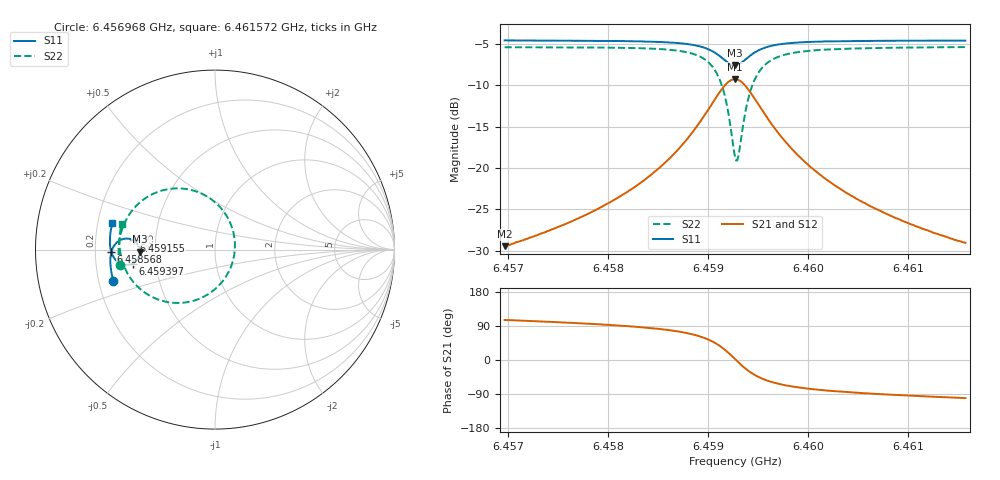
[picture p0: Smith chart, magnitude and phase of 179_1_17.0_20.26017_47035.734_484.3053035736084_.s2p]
#  HZ  S  RI  R  50.00
! Rohde & Schwarz Vector Network Analyzer
! Rohde-Schwarz,ZNB20-2Port,1311601062101988,3.16
! Created: UTC 3/20/2024, 11:00:04 PM
! freq[Hz]  re:S11  im:S11  re:S21  im:S21  re:S12  im:S12  re:S22  im:S22
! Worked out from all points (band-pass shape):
!   401 points, 6.456968 GHz to 6.461572 GHz, reference 50 ohm
!   highest |S21| = -9.24 dB at 6.45927 GHz (marker M1); lowest = -29.5 dB at 6.456968 GHz (marker M2)
!   |S21| within 3 dB of the highest: 6.45904 GHz to 6.4595 GHz (460.5 kHz wide, 0.00713 % of centre)
!   lowest |S11| = -7.6 dB at 6.45927 GHz (marker M3), VSWR 2.44, Z = 20.5 - j0.594 ohm
!   |S11| at or under -10 dB: nowhere
!   |S22| runs from -19.1 to -5.4 dB; largest |S21 - S12| = 0.014
!   S11 on the Smith chart (normalised r, x): 6.456968 GHz: 0.26, -0.14; 6.458568 GHz: 0.27, -0.01; 6.459155 GHz: 0.37, +0.05; 6.459397 GHz: 0.37, -0.07; 6.461572 GHz: 0.26, +0.12
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6.4569682e9  -0.5659 -0.1741  -0.00901 0.0324  -0.00732 0.0323  -0.5315 -0.0875
6.4577393e9  -0.5803 -0.1068  -0.00574 0.0504  -0.00323 0.0497  -0.5372 0.00244
6.4581652e9  -0.5833 -0.064  4.6e-05 0.0699  0.00326 0.0686  -0.5295 0.0699
6.4585105e9  -0.5796 -0.0227  0.0137 0.0987  0.0178 0.0961  -0.5045 0.1478
6.458568e9  -0.5778 -0.015  0.0181 0.1056  0.0222 0.1026  -0.4964 0.1643
6.4587752e9  -0.5649 0.0173  0.0454 0.1381  0.0496 0.1334  -0.4452 0.2372
6.4589248e9  -0.5422 0.0437  0.0906 0.1689  0.0939 0.1622  -0.362 0.3019
6.4590629e9  -0.4984 0.0613  0.1778 0.1857  0.1789 0.1783  -0.203 0.3411
6.459155e9  -0.4537 0.0511  0.2678 0.1546  0.2681 0.1489  -0.0365 0.2912
6.459224e9  -0.4246 0.019  0.3284 0.083  0.3307 0.0776  0.0789 0.1621
6.4592701e9  -0.4177 -0.0119  0.3448 0.015  0.3486 0.00822  0.1112 0.0357
6.4593046e9  -0.4216 -0.0356  0.3392 -0.0373  0.343 -0.0464  0.0998 -0.0634
6.4593506e9  -0.4372 -0.0618  0.3108 -0.0972  0.313 -0.109  0.0425 -0.1763
6.4593967e9  -0.4592 -0.078  0.2688 -0.1383  0.2682 -0.1514  -0.042 -0.251
6.4594427e9  -0.482 -0.085  0.2246 -0.1608  0.2209 -0.1736  -0.1306 -0.288
6.4595003e9  -0.5071 -0.0842  0.1753 -0.1701  0.1689 -0.1813  -0.2276 -0.2967
6.4596499e9  -0.5486 -0.0626  0.0922 -0.154  0.0839 -0.1599  -0.3854 -0.2435
6.459811e9  -0.569 -0.0351  0.0497 -0.1266  0.0423 -0.1291  -0.4612 -0.1725
6.4600412e9  -0.5809 -0.00144  0.0227 -0.0969  0.0169 -0.0976  -0.5057 -0.0951
6.4603865e9  -0.5856 0.0395  0.00658 -0.0703  0.00258 -0.0698  -0.5275 -0.0163
6.4608123e9  -0.5838 0.0823  -0.00127 -0.0519  -0.004 -0.0509  -0.5319 0.0518
6.4615719e9  -0.5718 0.1497  -0.00636 -0.0346  -0.00802 -0.0336  -0.5209 0.1414
